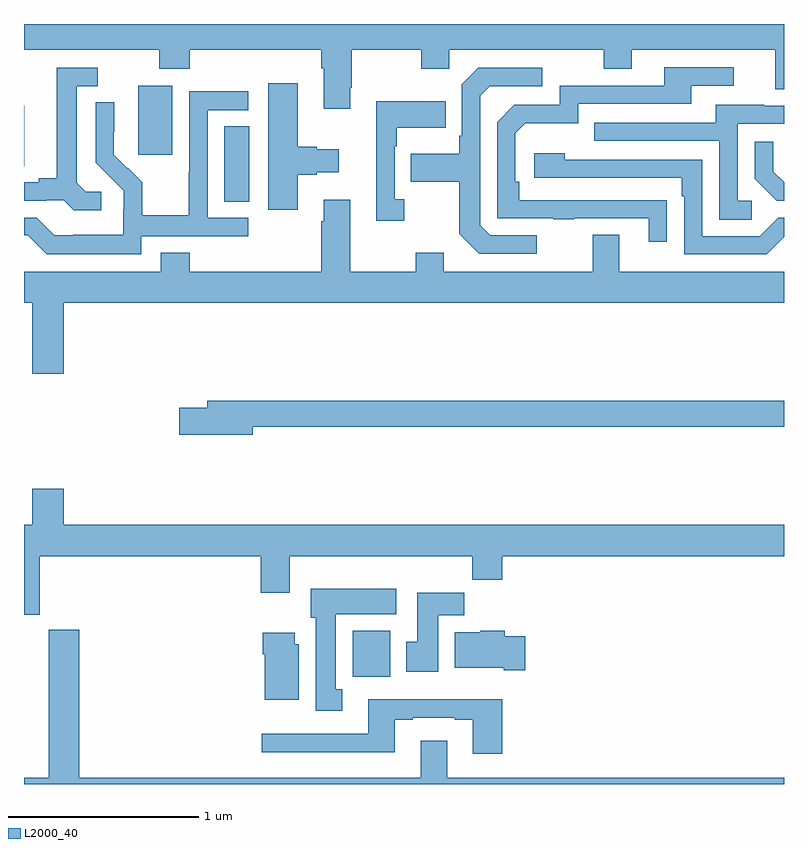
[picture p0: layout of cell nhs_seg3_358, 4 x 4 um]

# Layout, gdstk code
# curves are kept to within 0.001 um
import gdstk
lib = gdstk.Library(unit=1e-6, precision=1e-09)
def R(c, l, rs):  # rectangles x0, y0, x1, y1
    for r in rs: c.add(gdstk.rectangle(r[:2], r[2:], *l))
def P(c, l, *ps):  # polygons
    for p in ps: c.add(gdstk.Polygon(p, *l))
L2000_40 = (2000, 40)

nhs_seg3_358 = lib.new_cell('nhs_seg3_358')
R(nhs_seg3_358, L2000_40, [(130.73,682.964,130.927,683.206), (130.055,685.465,130.186,685.862), (129,685.651,129.001,685.971), (129.602,685.713,129.781,686.074)])
P(nhs_seg3_358, L2000_40, [(130.717,686.065),(130.725,686.065),(130.725,686.264),(131.092,686.264),(131.092,686.165),(131.238,686.165),(131.238,686.264),(132.052,686.264),(132.052,686.165),(132.199,686.165),(132.199,686.264),(132.953,686.264),(132.953,686.056),(133,686.056),(133,686.4),(129,686.4),(129,686.264),(129.712,686.264),(129.712,686.165),(129.872,686.165),(129.872,686.264),(130.565,686.264),(130.565,686.168),(130.577,686.168),(130.577,685.953),(130.717,685.953)],
  [(132.383,685.472),(131.606,685.473),(131.606,685.57),(131.586,685.57),(131.586,685.824),(131.639,685.877),(131.916,685.877),(131.916,685.98),(132.511,685.98),(132.511,686.076),(132.736,686.076),(132.736,686.172),(132.371,686.172),(132.371,686.076),(131.82,686.076),(131.82,685.974),(131.58,685.974),(131.49,685.884),(131.49,685.377),(131.785,685.377),(131.785,685.372),(131.897,685.372),(131.897,685.377),(132.287,685.377),(132.287,685.254),(132.383,685.254)],
  [(131.698,685.287),(131.454,685.287),(131.4,685.341),(131.4,686.022),(131.451,686.073),(131.728,686.073),(131.728,686.169),(131.391,686.169),(131.304,686.082),(131.304,685.813),(131.292,685.813),(131.292,685.717),(131.035,685.717),(131.035,685.57),(131.292,685.57),(131.292,685.297),(131.397,685.191),(131.698,685.191)],
  [(129.406,685.518),(129.324,685.518),(129.277,685.565),(129.277,686.073),(129.388,686.073),(129.388,686.169),(129.173,686.169),(129.173,685.589),(129.077,685.589),(129.077,685.566),(129,685.566),(129,685.47),(129.116,685.47),(129.116,685.473),(129.21,685.473),(129.262,685.421),(129.406,685.421)],
  [(130.441,685.607),(130.541,685.607),(130.541,685.619),(130.657,685.619),(130.657,685.741),(130.541,685.741),(130.541,685.754),(130.441,685.754),(130.441,686.089),(130.286,686.089),(130.286,685.422),(130.441,685.422)],
  [(129.618,685.284),(130.18,685.284),(130.18,685.38),(129.966,685.38),(129.966,685.947),(130.18,685.947),(130.18,686.046),(129.87,686.046),(129.87,685.616),(129.868,685.616),(129.868,685.393),(129.623,685.393),(129.623,685.567),(129.546,685.644),(129.543,685.641),(129.473,685.712),(129.474,685.988),(129.378,685.988),(129.378,685.67),(129.524,685.522),(129.524,685.425),(129.522,685.425),(129.522,685.291),(129.259,685.291),(129.259,685.287),(129.159,685.287),(129.066,685.38),(129,685.38),(129,685.287),(129.021,685.287),(129.121,685.187),(129.618,685.187)],
  [(131.002,685.478),(130.95,685.478),(130.95,685.757),(130.963,685.757),(130.963,685.853),(131.219,685.853),(131.219,685.993),(130.853,685.993),(130.853,685.365),(131.002,685.365)],
  [(132.829,685.47),(132.756,685.47),(132.756,685.875),(133,685.875),(133,685.971),(132.895,685.971),(132.895,685.975),(132.641,685.975),(132.641,685.881),(132.001,685.881),(132.001,685.785),(132.66,685.785),(132.66,685.369),(132.829,685.369)],
  [(133,685.566),(132.943,685.623),(132.943,685.78),(132.846,685.78),(132.846,685.586),(132.962,685.47),(133,685.47)],
  [(133,685.279),(133,685.38),(132.969,685.38),(132.873,685.284),(132.57,685.284),(132.57,685.686),(131.846,685.686),(131.846,685.72),(131.685,685.72),(131.685,685.59),(132.461,685.59),(132.461,685.493),(132.474,685.493),(132.474,685.188),(132.909,685.188)],
  [(129.208,684.932),(133,684.932),(133,685.096),(132.133,685.096),(132.133,685.291),(131.993,685.291),(131.993,685.096),(131.209,685.096),(131.209,685.195),(131.062,685.195),(131.062,685.096),(130.717,685.096),(130.717,685.474),(130.577,685.474),(130.577,685.361),(130.565,685.361),(130.565,685.096),(129.872,685.096),(129.872,685.195),(129.719,685.195),(129.719,685.096),(129,685.096),(129,684.932),(129.044,684.932),(129.044,684.558),(129.208,684.558)],
  [(130.204,684.28),(133,684.28),(133,684.416),(129.965,684.416),(129.965,684.38),(129.816,684.38),(129.816,684.238),(130.204,684.238)],
  [(129.082,683.6),(130.247,683.6),(130.247,683.406),(130.399,683.406),(130.399,683.6),(131.359,683.6),(131.359,683.476),(131.516,683.476),(131.516,683.6),(133,683.6),(133,683.764),(129.208,683.764),(129.208,683.953),(129.044,683.953),(129.044,683.764),(129,683.764),(129,683.291),(129.082,683.291)],
  [(130.675,682.898),(130.642,682.898),(130.642,683.294),(130.96,683.294),(130.96,683.428),(130.508,683.428),(130.508,683.274),(130.535,683.274),(130.535,682.785),(130.675,682.785)],
  [(131.179,683.288),(131.318,683.288),(131.318,683.407),(131.069,683.407),(131.069,683.148),(131.012,683.148),(131.012,682.992),(131.179,682.992)],
  [(133,682.432),(131.227,682.432),(131.227,682.627),(131.087,682.627),(131.087,682.432),(129.29,682.432),(129.29,683.212),(129.13,683.212),(129.13,682.432),(129,682.432),(129,682.4),(133,682.4)],
  [(131.638,683.178),(131.531,683.178),(131.531,683.206),(131.4,683.206),(131.4,683.2),(131.267,683.2),(131.267,683.012),(131.525,683.012),(131.525,683),(131.638,683)],
  [(130.447,683.136),(130.426,683.136),(130.426,683.197),(130.256,683.197),(130.256,683.084),(130.268,683.084),(130.268,682.844),(130.447,682.844)],
  [(131.516,682.846),(130.811,682.846),(130.811,682.665),(130.251,682.665),(130.251,682.568),(130.951,682.568),(130.951,682.737),(131.047,682.737),(131.047,682.749),(131.267,682.749),(131.267,682.737),(131.363,682.737),(131.363,682.56),(131.516,682.56)])

lib.write_gds('nhs_seg3_358.gds')
